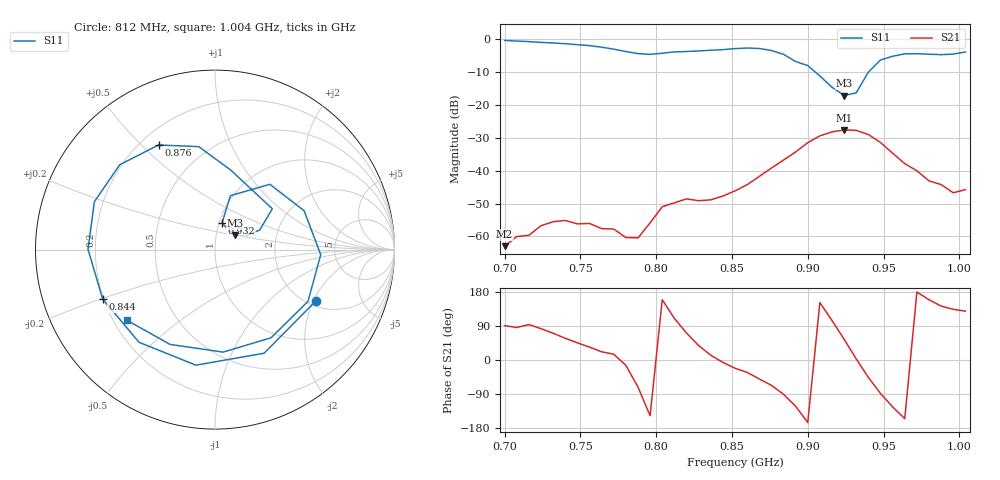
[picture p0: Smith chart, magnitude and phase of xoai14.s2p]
# Hz S RI R 50
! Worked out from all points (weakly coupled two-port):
!   39 points, 700 MHz to 1.004 GHz, reference 50 ohm
!   highest |S21| = -27.67 dB at 924 MHz (marker M1); lowest = -62.9 dB at 700 MHz (marker M2)
!   lowest |S11| = -17.3 dB at 924 MHz (marker M3), VSWR 1.32, Z = 61.6 + j10.1 ohm
!   |S11| at or under -10 dB: 904.7 MHz to 940.2 MHz (35.55 MHz wide, 3.85 % of centre)
!   S12 and S22 are empty: the file has one direction only
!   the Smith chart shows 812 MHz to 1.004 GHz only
!   S11 on the Smith chart (normalised r, x): 812 MHz: 2.21, -2.09; 844 MHz: 0.20, -0.20; 876 MHz: 0.27, +0.56; 932 MHz: 1.03, +0.31; 1.004 GHz: 0.25, -0.33
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7e8  0.7616 0.5529  -7.7e-06 0.000713  0 0  0 0
7.24e8  0.8437 -0.2495  0.000185 0.00144  0 0  0 0
7.4e8  0.4616 -0.7015  0.000945 0.00147  0 0  0 0
7.56e8  -0.1908 -0.7624  0.00131 0.000883  0 0  0 0
7.72e8  -0.6636 -0.2051  0.00125 0.000341  0 0  0 0
7.8e8  -0.6001 0.2207  0.000935 -0.000235  0 0  0 0
7.88e8  -0.2523 0.5374  0.000301 -0.000903  0 0  0 0
7.96e8  0.2376 0.5289  -0.00135 -0.000876  0 0  0 0
8.04e8  0.5753 0.1779  -0.00264 0.00102  0 0  0 0
8.12e8  0.5625 -0.2856  -0.0011 0.00304  0 0  0 0
8.28e8  -0.1065 -0.6439  0.00275 0.00215  0 0  0 0
8.44e8  -0.6262 -0.2742  0.00408 -0.000447  0 0  0 0
8.52e8  -0.7076 0.00212  0.00457 -0.00182  0 0  0 0
8.76e8  -0.3141 0.583  0.0043 -0.01  0 0  0 0
9e8  0.3192 0.2274  -0.0256 -0.0068  0 0  0 0
9.08e8  0.2492 0.109  -0.0296 0.016  0 0  0 0
9.24e8  0.1114 0.0801  0.0239 0.0337  0 0  0 0
9.32e8  0.0389 0.1461  0.0406 0.00198  0 0  0 0
9.48e8  0.3056 0.3639  0.000799 -0.0266  0 0  0 0
9.56e8  0.4965 0.2166  -0.0102 -0.0153  0 0  0 0
9.8e8  0.3123 -0.4913  -0.00651 0.0025  0 0  0 0
1.004e9  -0.4926 -0.3925  -0.00322 0.004  0 0  0 0
